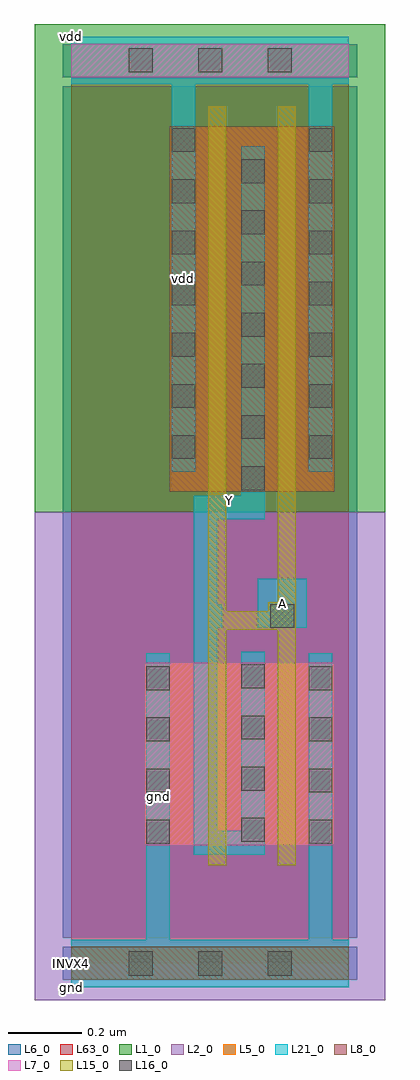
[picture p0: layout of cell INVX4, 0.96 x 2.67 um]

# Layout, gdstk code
import gdstk
lib = gdstk.Library(unit=1e-6, precision=1e-09)
def R(c, l, rs):  # rectangles x0, y0, x1, y1
    for r in rs: c.add(gdstk.rectangle(r[:2], r[2:], *l))
def A(c, l, x, y, w, h, nx, ny, dx, dy):  # array of equal rectangles
    R(c, l, [(x+i*dx, y+j*dy, x+i*dx+w, y+j*dy+h) for i in range(nx) for j in range(ny)])
def P(c, l, *ps):  # polygons
    for p in ps: c.add(gdstk.Polygon(p, *l))
L1_0 = (1, 0)
L2_0 = (2, 0)
L5_0 = (5, 0)
L6_0 = (6, 0)
L7_0 = (7, 0)
L8_0 = (8, 0)
L15_0 = (15, 0)
L16_0 = (16, 0)
L21_0 = (21, 0)
L63_0 = (63, 0)

invx4 = lib.new_cell('INVX4')
R(invx4, L1_0, [(-0.1,1.235,0.86,2.57)])
R(invx4, L2_0, [(-0.1,-0.1,0.86,1.235)])
R(invx4, L5_0, [(0,-0.045,0.76,0.045), (0.2,0.323,0.375,0.823), (0.375,0.323,0.425,0.823), (0.425,0.323,0.565,0.823), (0.565,0.323,0.615,0.823), (0.615,0.323,0.72,0.823), (0.27,1.29,0.375,2.29), (0.375,1.29,0.425,2.29), (0.425,1.29,0.565,2.29), (0.565,1.29,0.615,2.29), (0.615,1.29,0.72,2.29), (0,2.425,0.76,2.515)])
R(invx4, L6_0, [(-0.023,-0.045,0.783,0.045), (-0.023,-0.045,0.783,0.045), (-0.023,0.07,0.783,1.235), (-0.023,1.235,0.783,2.4), (-0.023,2.425,0.783,2.515), (-0.023,2.425,0.783,2.515)])
R(invx4, L7_0, [(0.2,0.323,0.375,0.823), (0.375,0.323,0.425,0.823), (0.425,0.323,0.565,0.823), (0.565,0.323,0.615,0.823), (0.615,0.323,0.72,0.823), (0,2.425,0.76,2.515)])
R(invx4, L8_0, [(0,-0.045,0.76,0.045), (0.27,1.29,0.375,2.29), (0.375,1.29,0.425,2.29), (0.425,1.29,0.565,2.29), (0.565,1.29,0.615,2.29), (0.615,1.29,0.72,2.29)])
R(invx4, L15_0, [(0.375,0.268,0.425,0.323), (0.565,0.268,0.615,0.323), (0.375,0.323,0.425,0.823), (0.565,0.323,0.615,0.823), (0.375,1.29,0.425,2.29), (0.565,1.29,0.615,2.29), (0.375,2.29,0.425,2.345), (0.565,2.29,0.615,2.345)])
P(invx4, L15_0, [(0.375,1.29),(0.425,1.29),(0.425,0.963),(0.54,0.963),(0.54,0.988),(0.565,0.988),(0.565,1.29),(0.615,1.29),(0.615,0.823),(0.565,0.823),(0.565,0.913),(0.425,0.913),(0.425,0.823),(0.375,0.823)])
A(invx4, L16_0, 0.158, -0.033, 0.065, 0.066, 3, 1, 0.19, 0)
A(invx4, L16_0, 0.205, 0.328, 0.065, 0.065, 1, 4, 0, 0.14)
A(invx4, L16_0, 0.65, 0.328, 0.065, 0.065, 1, 4, 0, 0.14)
A(invx4, L16_0, 0.465, 0.333, 0.065, 0.065, 1, 4, 0, 0.14)
A(invx4, L16_0, 0.465, 1.295, 0.065, 0.065, 1, 7, 0, 0.14)
A(invx4, L16_0, 0.275, 1.38, 0.065, 0.065, 1, 7, 0, 0.14)
A(invx4, L16_0, 0.65, 1.38, 0.065, 0.065, 1, 7, 0, 0.14)
A(invx4, L16_0, 0.158, 2.438, 0.065, 0.065, 3, 1, 0.19, 0)
R(invx4, L16_0, [(0.545,0.918,0.61,0.983)])
R(invx4, L21_0, [(0.51,0.918,0.645,1.053)])
P(invx4, L21_0, [(0,2.405),(0,2.535),(0.76,2.535),(0.76,2.405),(0.715,2.405),(0.715,1.345),(0.65,1.345),(0.65,2.405),(0.34,2.405),(0.34,1.345),(0.275,1.345),(0.275,2.405)],
  [(0,-0.065),(0,0.065),(0.205,0.065),(0.205,0.848),(0.27,0.848),(0.27,0.065),(0.65,0.065),(0.65,0.848),(0.715,0.848),(0.715,0.065),(0.76,0.065),(0.76,-0.065)],
  [(0.4,0.918),(0.4,0.363),(0.465,0.363),(0.465,0.853),(0.53,0.853),(0.53,0.298),(0.335,0.298),(0.335,1.28),(0.465,1.28),(0.465,2.235),(0.53,2.235),(0.53,1.215),(0.4,1.215),(0.4,0.983),(0.413,0.983),(0.413,0.918)])
R(invx4, L63_0, [(0,0,0.76,2.47)])
invx4.add(gdstk.Label('vdd', (0.308,1.875), layer=21, texttype=1))
invx4.add(gdstk.Label('gnd', (0.238,0.456), layer=21, texttype=1))
invx4.add(gdstk.Label('Y', (0.433,1.266), layer=21, texttype=1))
invx4.add(gdstk.Label('A', (0.578,0.985), layer=21, texttype=1))
invx4.add(gdstk.Label('vdd', (0,2.535), layer=21, texttype=2))
invx4.add(gdstk.Label('gnd', (0,-0.065), layer=21, texttype=2))
invx4.add(gdstk.Label('INVX4', (0,0), layer=63, texttype=1))

lib.write_gds('INVX4.gds')
